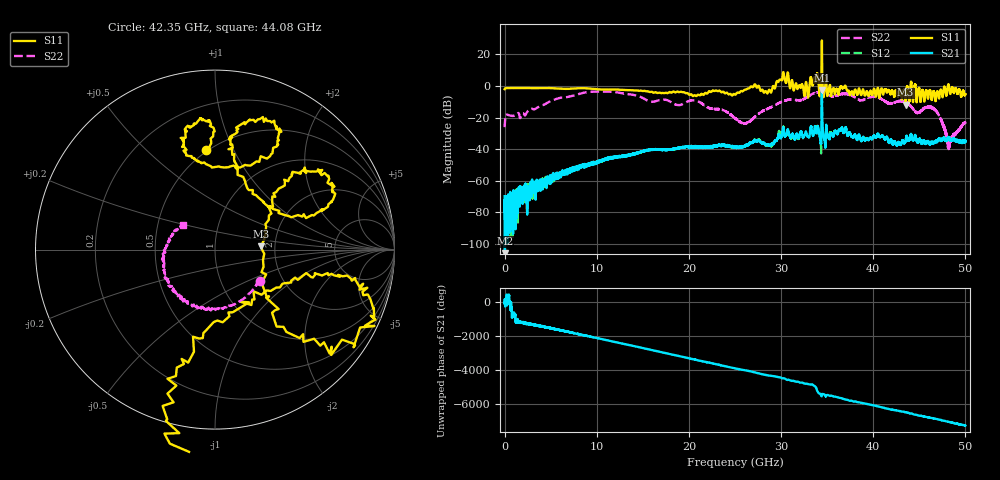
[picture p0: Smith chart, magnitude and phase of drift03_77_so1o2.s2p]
!Created with skrf (http://scikit-rf.org).
# Hz S RI R 50.0
!freq ReS11 ImS11 ReS21 ImS21 ReS12 ImS12 ReS22 ImS22
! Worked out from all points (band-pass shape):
!   10000 points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, 5.3 MHz to 50 GHz, reference 50 ohm
!   highest |S21| = -2.68 dB at 34.43 GHz (marker M1); lowest = -105.8 dB at 40.3 MHz (marker M2)
!   |S21| within 3 dB of the highest: 34.42746 GHz to 34.43444 GHz (6.983 MHz wide, 0.0203 % of centre)
!   lowest |S11| = -11.9 dB at 43.52 GHz (marker M3), VSWR 1.69, Z = 84.1 + j3.25 ohm
!   |S11| at or under -10 dB: 43.48468 GHz to 43.54499 GHz (60.31 MHz wide, 0.139 % of centre); 43.90003 GHz to 43.90005 GHz (20.74 kHz wide, 4.72e-05 % of centre); 44.31089 GHz to 44.31686 GHz (5.972 MHz wide, 0.0135 % of centre) (the widest 3 of 7)
!   |S22| runs from -40.0 to -3.6 dB; largest |S21 - S12| = 0.23
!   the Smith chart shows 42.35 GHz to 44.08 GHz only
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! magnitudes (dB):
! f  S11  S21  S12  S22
! 5.3 MHz  -2.1  -69.7  -72.1  -26.1
! 40.3 MHz  -1.7  -105.8  -77.4  -21.7
! 535.3 MHz  -1.4  -72.5  -91.0  -18.6
! 1.975 GHz  -1.3  -72.3  -66.3  -17.3
! 8.34 GHz  -1.5  -51.1  -51.2  -4.7
! 16.67 GHz  -4.4  -40.4  -40.3  -9.2
! 20.75 GHz  -6.3  -38.9  -38.5  -9.3
! 25.01 GHz  -5.5  -39.0  -38.8  -20.4
! 26.22 GHz  -2.2  -37.4  -37.4  -23.5
! 28.72 GHz  -2.5  -37.8  -37.6  -14.0
! 30.14 GHz  4.4  -29.5  -29.6  -9.9
! 32.74 GHz  2.0  -29.5  -29.3  -7.4
! 33.34 GHz  2.6  -27.5  -27.9  -5.2
! 33.82 GHz  4.0  -29.0  -29.6  -4.3
! 34.43 GHz  28.7  -2.7  -4.8  -4.0
! 36.48 GHz  -0.5  -28.1  -27.9  -5.3
! 41.67 GHz  -2.8  -35.6  -35.5  -11.0
! 43.52 GHz  -11.9  -34.6  -34.6  -10.3
! 44.77 GHz  -7.8  -34.9  -34.9  -17.0
! 46.68 GHz  -5.9  -35.7  -35.5  -15.0
! 48.22 GHz  -0.2  -32.8  -33.0  -37.5
! 50 GHz  -5.3  -34.6  -34.5  -23.3
